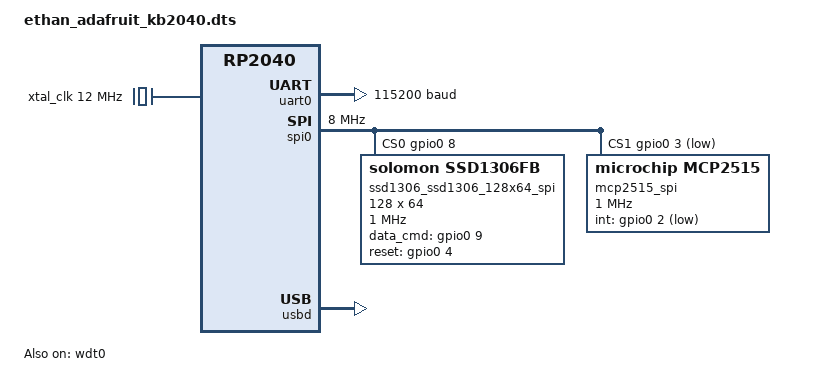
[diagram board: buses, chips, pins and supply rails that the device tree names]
/*
 * Copyright (c) 2021 Yonatan Schachter
 * Copyright (c) 2022 Peter Johanson
 *
 * SPDX-License-Identifier: Apache-2.0
 */

/dts-v1/;

#include <rpi_pico/rp2040.dtsi>
#include "ethan_adafruit_kb2040-pinctrl.dtsi"
#include "sparkfun_pro_micro_connector.dtsi"
#include <freq.h>

/ {
	chosen {
		zephyr,sram = &sram0;
		zephyr,flash = &flash0;
		zephyr,flash-controller = &ssi;
		zephyr,console = &uart0;
		zephyr,shell-uart = &uart0;
		zephyr,code-partition = &code_partition;
		zephyr,display = &ssd1306_ssd1306_128x64_spi;
		zephyr,canbus = &mcp2515_spi;

		//zephyr,shell-uart = &cdc_acm_uart0;
	};

	aliases {
		watchdog0 = &wdt0;
	};

	xtal_clk: xtal-clk {
		compatible = "fixed-clock";
		clock-frequency = <12000000>;
		#clock-cells = <0>;
	};
};

&flash0 {
	reg = <0x10000000 DT_SIZE_M(8)>;

	partitions {
		compatible = "fixed-partitions";
		#address-cells = <1>;
		#size-cells = <1>;

		/* Reserved memory for the second stage bootloader */
		second_stage_bootloader: partition@0 {
			label = "second_stage_bootloader";
			reg = <0x00000000 0x100>;
			read-only;
		};

		/*
		 * Usable flash. Starts at 0x100, after the bootloader. The partition
		 * size is 8MB minus the 0x100 bytes taken by the bootloader.
		 */
		code_partition: partition@100 {
			label = "code";
			reg = <0x100 (DT_SIZE_M(8) - 0x100)>;
			read-only;
		};
	};
};

&uart0 {
	current-speed = <115200>;
	status = "okay";
	pinctrl-0 = <&uart0_default>;
	pinctrl-names = "default";
};

ssdspi: &spi0 {
	status = "okay";
	pinctrl-0 = <&spi0_default>;
	pinctrl-names = "default";
	clock-frequency = <DT_FREQ_M(8)>;
	//clock-frequency = <1000000>;
	//cs-gpios = <&gpio0 8 GPIO_ACTIVE_LOW>, <&gpio0 3 GPIO_ACTIVE_LOW>;
	cs-gpios = <&gpio0 8 GPIO_ACTIVE_HIGH>, <&gpio0 3 GPIO_ACTIVE_LOW>;
/*
	ssd1306_ssd1306_128x64_spi: ssd1306@0 {
		compatible = "vnd,spi-device";
		reg = <0>;
		spi-max-frequency = <1000000>;
		data_cmd-gpios = <&gpio0 9 GPIO_ACTIVE_HIGH>;
		reset-gpios = <&gpio0 4 GPIO_ACTIVE_HIGH>;
	};
*/

	ssd1306_ssd1306_128x64_spi: ssd1306@0 {
		compatible = "solomon,ssd1306fb";
		reg = <0>;
		spi-max-frequency = <1000000>;
		width = <128>;
		height = <64>;
		segment-offset = <0>;
		page-offset = <0>;
		display-offset = <0>;
		multiplex-ratio = <63>;
		segment-remap;
		com-invdir;
		prechargep = <0x22>;
		data_cmd-gpios = <&gpio0 9 GPIO_ACTIVE_HIGH>;
		reset-gpios = <&gpio0 4 GPIO_ACTIVE_HIGH>;
	};

	mcp2515_spi: mcp2515@1 {
		compatible = "microchip,mcp2515";
		reg = <1>;
		osc-freq = <8000000>;
		int-gpios = <&gpio0 2 GPIO_ACTIVE_LOW>;
		spi-max-frequency = <1000000>;
		bus-speed = <125000>;
		sjw = <1>;
		//prop-seg = <2>;
		//phase-seg1 = <7>;
		//phase-seg2 = <6>;
		sample-point = <875>;
	};
};

&i2c1 {
	status = "disabled";
	pinctrl-0 = <&i2c1_default>;
	pinctrl-names = "default";
	clock-frequency = <I2C_BITRATE_FAST>;
};

&gpio0 {
	status = "okay";
};

&wdt0 {
	status = "okay";
};

&adc {
	status = "disabled";
	pinctrl-0 = <&adc_default>;
	pinctrl-names = "default";
};

zephyr_udc0: &usbd {
	status = "okay";

	cdc_acm_uart0: cdc_acm_uart0 {
		compatible = "zephyr,cdc-acm-uart";
	};
};

&vreg {
	regulator-always-on;
	//regulator-allowed-modes = <REGULATOR_RPI_PICO_MODE_NORMAL>;
	regulator-allowed-modes = <REGULATOR_RPI_PICO_MODE_HI_Z>;
};
